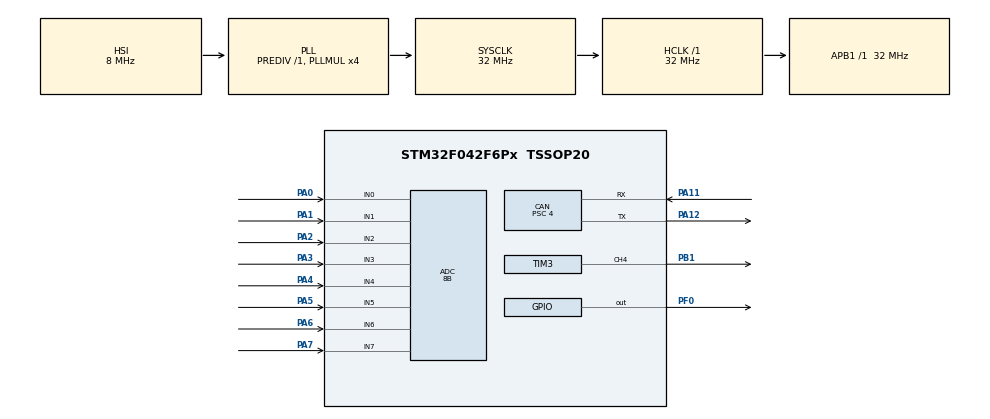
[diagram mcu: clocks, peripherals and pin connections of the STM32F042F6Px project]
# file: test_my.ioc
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Mcu.Family=STM32F0
VP_SYS_VS_PINREMAP.Mode=PINREMAP
PA6.Mode=IN6
PA7.Mode=IN7
Dma.ADC.0.Mode=DMA_NORMAL
CAN.ABOM=DISABLE
CAN.CalculateBaudRate=500000
Dma.ADC.0.Priority=DMA_PRIORITY_LOW
PA11.Mode=CAN_Activate
CAN.CalculateTimeBit=2000.00
TIM3.Channel-PWM\ Generation4\ CH4=TIM_CHANNEL_4
RCC.SYSCLKSource=RCC_SYSCLKSOURCE_PLLCLK
ProjectManager.StackSize=0x400
Dma.ADC.0.PeriphDataAlignment=DMA_PDATAALIGN_BYTE
PA3.Mode=IN3
PA13.Signal=SYS_SWDIO
PA12.Signal=CAN_TX
CAN.BS2=CAN_BS2_2TQ
CAN.Prescaler=4
CAN.BS1=CAN_BS1_13TQ
PA4.Mode=IN4
ProjectManager.TargetToolchain=STM32CubeIDE
Dma.ADC.0.PeriphInc=DMA_PINC_DISABLE
RCC.HCLKFreq_Value=32000000
TIM3.Period=9999
CAN.Mode=CAN_MODE_NORMAL
PA1.Signal=ADC_IN1
RCC.AHBFreq_Value=32000000
Dma.ADC.0.Direction=DMA_PERIPH_TO_MEMORY
ADC.SamplingTime=ADC_SAMPLETIME_7CYCLES_5
PA5.Signal=ADC_IN5
ADC.DMAContinuousRequests=ENABLE
board=custom
RCC.PLLMUL=RCC_PLL_MUL4
PA1.Mode=IN1
PA14.Mode=Serial_Wire
CAN.NART=DISABLE
PA0.Mode=IN0
PA13.Mode=Serial_Wire
Mcu.Name=STM32F042F6Px
CAN.CalculateTimeQuantum=125.0
PA2.Signal=ADC_IN2
PA0.Signal=ADC_IN0
Dma.ADC.0.MemInc=DMA_MINC_ENABLE
PA4.Signal=ADC_IN4
NVIC.CEC_CAN_IRQn=true\:0\:0\:false\:false\:true\:true\:true
RCC.SYSCLKFreq_VALUE=32000000
Mcu.Package=TSSOP20
PA6.Signal=ADC_IN6
PB1.Signal=S_TIM3_CH4
PA12.Mode=CAN_Activate
Dma.ADC.0.Instance=DMA1_Channel1
PA11.Signal=CAN_RX
PA14.Signal=SYS_SWCLK
ProjectManager.HeapSize=0x200
Dma.ADC.0.MemDataAlignment=DMA_MDATAALIGN_BYTE
ADC.Resolution=ADC_RESOLUTION_8B
CAN.TXFP=DISABLE
RCC.APB1TimFreq_Value=32000000
PA2.Mode=IN2
NVIC.DMA1_Channel1_IRQn=true\:0\:0\:false\:false\:true\:false\:true
PF0-OSC_IN.Signal=GPIO_Output
Dma.Request0=ADC
RCC.APB1Freq_Value=32000000
ADC.ContinuousConvMode=ENABLE
VP_TIM3_VS_ClockSourceINT.Mode=Internal
SH.S_TIM3_CH4.0=TIM3_CH4,PWM Generation4 CH4
PA3.Signal=ADC_IN3
PA7.Signal=ADC_IN7
PA5.Mode=IN5

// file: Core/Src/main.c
/* USER CODE BEGIN Header */
/**
  ******************************************************************************
  * @file           : main.c
  * @brief          : Main program body
  ******************************************************************************
  * @attention
  *
  * <h2><center>&copy; Copyright (c) 2021 STMicroelectronics.
  * All rights reserved.</center></h2>
  *
  * This software component is licensed by ST under BSD 3-Clause license,
  * the "License"; You may not use this file except in compliance with the
  * License. You may obtain a copy of the License at:
  *                        opensource.org/licenses/BSD-3-Clause
  *
  ******************************************************************************
  */
/* USER CODE END Header */
#include "main.h"
#include "adc.h"
#include "can.h"
#include "dma.h"
#include "tim.h"
#include "gpio.h"

/* USER CODE BEGIN Includes */
#include "string.h"
/* USER CODE END Includes */

/* USER CODE BEGIN PV */
CAN_TxHeaderTypeDef TxHeader; //отвечает за отправку кадров
CAN_RxHeaderTypeDef RxHeader; //принятого кадра, из неё мы будем читать при приёме.
uint8_t TxData[8] = {0,}; //полезные данные которые хотим передать.
uint8_t RxData[8] = {0,}; //будут лежать полезные данные из принятого кадра.
uint32_t TxMailbox = 0;
char trans_str[64] = {0,};
//volatile uint16_t adc[8] = {0,};
volatile uint8_t adc[8] = {0,};
volatile uint8_t flag = 0;
uint32_t can_count = 0;
/* USER CODE END PV */

void SystemClock_Config(void);

/* USER CODE BEGIN 0 */
const uint32_t header_id = 0xA;
void HAL_ADC_ConvCpltCallback(ADC_HandleTypeDef* hadc)
{

        flag = 1;

}
void HAL_CAN_RxFifo0MsgPendingCallback(CAN_HandleTypeDef *hcan)
{
    if(HAL_CAN_GetRxMessage(hcan, CAN_RX_FIFO0, &RxHeader, RxData) == HAL_OK)
    {
        HAL_GPIO_TogglePin(GPIOC, GPIO_PIN_13);
    }
}
/*void HAL_CAN_ErrorCallback(CAN_HandleTypeDef *hcan)
{
    uint32_t er = HAL_CAN_GetError(hcan);
  sprintf(trans_str,"ER CAN %lu %08lX", er, er);
   HAL_UART_Transmit(&huart1, (uint8_t*)trans_str, strlen(trans_str), 100);
}*/
/* USER CODE END 0 */

int main(void)
{

  /* MCU Configuration--------------------------------------------------------*/

  /* Reset of all peripherals, Initializes the Flash interface and the Systick. */
  HAL_Init();

  /* Configure the system clock */
  SystemClock_Config();

  /* Initialize all configured peripherals */
  MX_GPIO_Init();
  MX_DMA_Init();
  MX_CAN_Init();
  MX_ADC_Init();
  MX_TIM3_Init();
  /* USER CODE BEGIN 2 */
  HAL_ADCEx_Calibration_Start(&hadc);
  HAL_ADC_Start_DMA(&hadc, (uint32_t*)&adc, 8);
  HAL_TIM_PWM_Start(&htim3, TIM_CHANNEL_4);
  TxHeader.StdId = header_id;
  TxHeader.ExtId = 0;
  TxHeader.RTR = CAN_RTR_DATA; //CAN_RTR_REMOTE
  TxHeader.IDE = CAN_ID_STD;   // CAN_ID_EXT
  TxHeader.DLC = 8;
  TxHeader.TransmitGlobalTime = 0;

  HAL_CAN_Start(&hcan);
  HAL_CAN_ActivateNotification(&hcan, CAN_IT_RX_FIFO0_MSG_PENDING | CAN_IT_ERROR | CAN_IT_BUSOFF | CAN_IT_LAST_ERROR_CODE);
  /* USER CODE END 2 */

  /* Infinite loop */
  /* USER CODE BEGIN WHILE */
  while (1)
  {
	 //while(HAL_CAN_GetTxMailboxesFreeLevel(&hcan) == 0);
	 	 	 if(HAL_CAN_AddTxMessage(&hcan, &TxHeader, (uint8_t*)adc, &TxMailbox) == HAL_OK)
	         // if(HAL_CAN_AddTxMessage(&hcan, &TxHeader, TxData, &TxMailbox) != HAL_OK)
	          {
	 	 		++can_count;//  HAL_UART_Transmit(&huart1, (uint8_t*)"ER SEND\n", 8, 100);
	          }
	 	 	  HAL_Delay(50);
	         // HAL_Delay(500);
    /* USER CODE END WHILE */

    /* USER CODE BEGIN 3 */
	  TIM3->CCR4 = 8888;
	  //HAL_GPIO_WritePin(GPIOB, GPIO_PIN_1, GPIO_PIN_SET);
	  HAL_GPIO_WritePin(GPIOF, GPIO_PIN_0, GPIO_PIN_SET);
//	  HAL_ADC_Start(&hadc); // запускаем преобразование сигнала АЦП
//	  HAL_ADC_PollForConversion(&hadc, 100); // ожидаем окончания преобразования
//	  adc = HAL_ADC_GetValue(&hadc); // читаем полученное значение в переменную adc
//	  HAL_ADC_Stop(&hadc); // останавливаем АЦП (не обязательно)
//	  HAL_Delay(100);

 if(flag)
	  {
	        flag = 0;

	        HAL_ADC_Stop_DMA(&hadc); // это необязательно

	        HAL_ADC_Start_DMA(&hadc, (uint32_t*)&adc, 8);
	  }
  }

  /* USER CODE END 3 */
}

void SystemClock_Config(void)
{
  RCC_OscInitTypeDef RCC_OscInitStruct = {0};
  RCC_ClkInitTypeDef RCC_ClkInitStruct = {0};

  /** Initializes the RCC Oscillators according to the specified parameters
  * in the RCC_OscInitTypeDef structure.
  */
  RCC_OscInitStruct.OscillatorType = RCC_OSCILLATORTYPE_HSI|RCC_OSCILLATORTYPE_HSI14;
  RCC_OscInitStruct.HSIState = RCC_HSI_ON;
  RCC_OscInitStruct.HSI14State = RCC_HSI14_ON;
  RCC_OscInitStruct.HSICalibrationValue = RCC_HSICALIBRATION_DEFAULT;
  RCC_OscInitStruct.HSI14CalibrationValue = 16;
  RCC_OscInitStruct.PLL.PLLState = RCC_PLL_ON;
  RCC_OscInitStruct.PLL.PLLSource = RCC_PLLSOURCE_HSI;
  RCC_OscInitStruct.PLL.PLLMUL = RCC_PLL_MUL4;
  RCC_OscInitStruct.PLL.PREDIV = RCC_PREDIV_DIV1;
  if (HAL_RCC_OscConfig(&RCC_OscInitStruct) != HAL_OK)
  {
    Error_Handler();
  }
  /** Initializes the CPU, AHB and APB buses clocks
  */
  RCC_ClkInitStruct.ClockType = RCC_CLOCKTYPE_HCLK|RCC_CLOCKTYPE_SYSCLK
                              |RCC_CLOCKTYPE_PCLK1;
  RCC_ClkInitStruct.SYSCLKSource = RCC_SYSCLKSOURCE_PLLCLK;
  RCC_ClkInitStruct.AHBCLKDivider = RCC_SYSCLK_DIV1;
  RCC_ClkInitStruct.APB1CLKDivider = RCC_HCLK_DIV1;

  if (HAL_RCC_ClockConfig(&RCC_ClkInitStruct, FLASH_LATENCY_1) != HAL_OK)
  {
    Error_Handler();
  }
}

void Error_Handler(void)
{
  __disable_irq();
  while (1)
  {
  }
}

/************************ (C) COPYRIGHT STMicroelectronics *****END OF FILE****/
